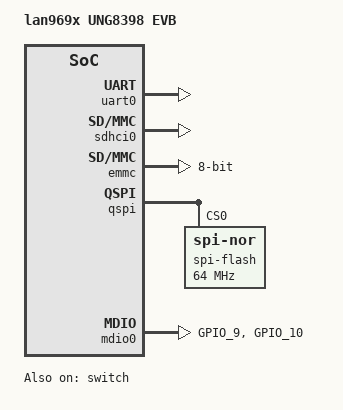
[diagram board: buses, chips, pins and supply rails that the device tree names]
/dts-v1/;

#include "lan969x_a0.dtsi"
#include "lan969x.dtsi"

#include <dt-bindings/mscc/sparx5_data.h>

/ {
	model = "lan969x UNG8398 EVB";
	config {
		u-boot,mmc-env-partition = "Env";
	};
};

&uart0 {
	status = "okay";
	pinctrl-0 = <&fc0_pins>;
	pinctrl-names = "default";
};

&sdhci0 {
	status = "okay";
};

&emmc {
	status = "okay";
	pinctrl-0 = <&emmc_sd_pins>;
	pinctrl-names = "default";
	bus-width = <8>;
};

&qspi {
	status = "okay";
	spi-flash@0 {
		status = "okay";
		compatible = "jedec,spi-nor";
		reg = <0>;
		spi-max-frequency = <64000000>;
		u-boot,dm-pre-reloc;
	};
};

&gpio {
	mdio_pins: mdio-pins {
		pins = "GPIO_9", "GPIO_10";
		function = "miim";
	};
};

&mdio0 {
	pinctrl-0 = <&mdio_pins>;
	pinctrl-names = "default";
};

&switch {
	status = "okay";
	ethernet-ports {
		port24: port@24 {
			reg = <24>;
			phys = <IF_SGMII_CISCO FA_SERDES_TYPE_10G 6>;
		};
	};
};
